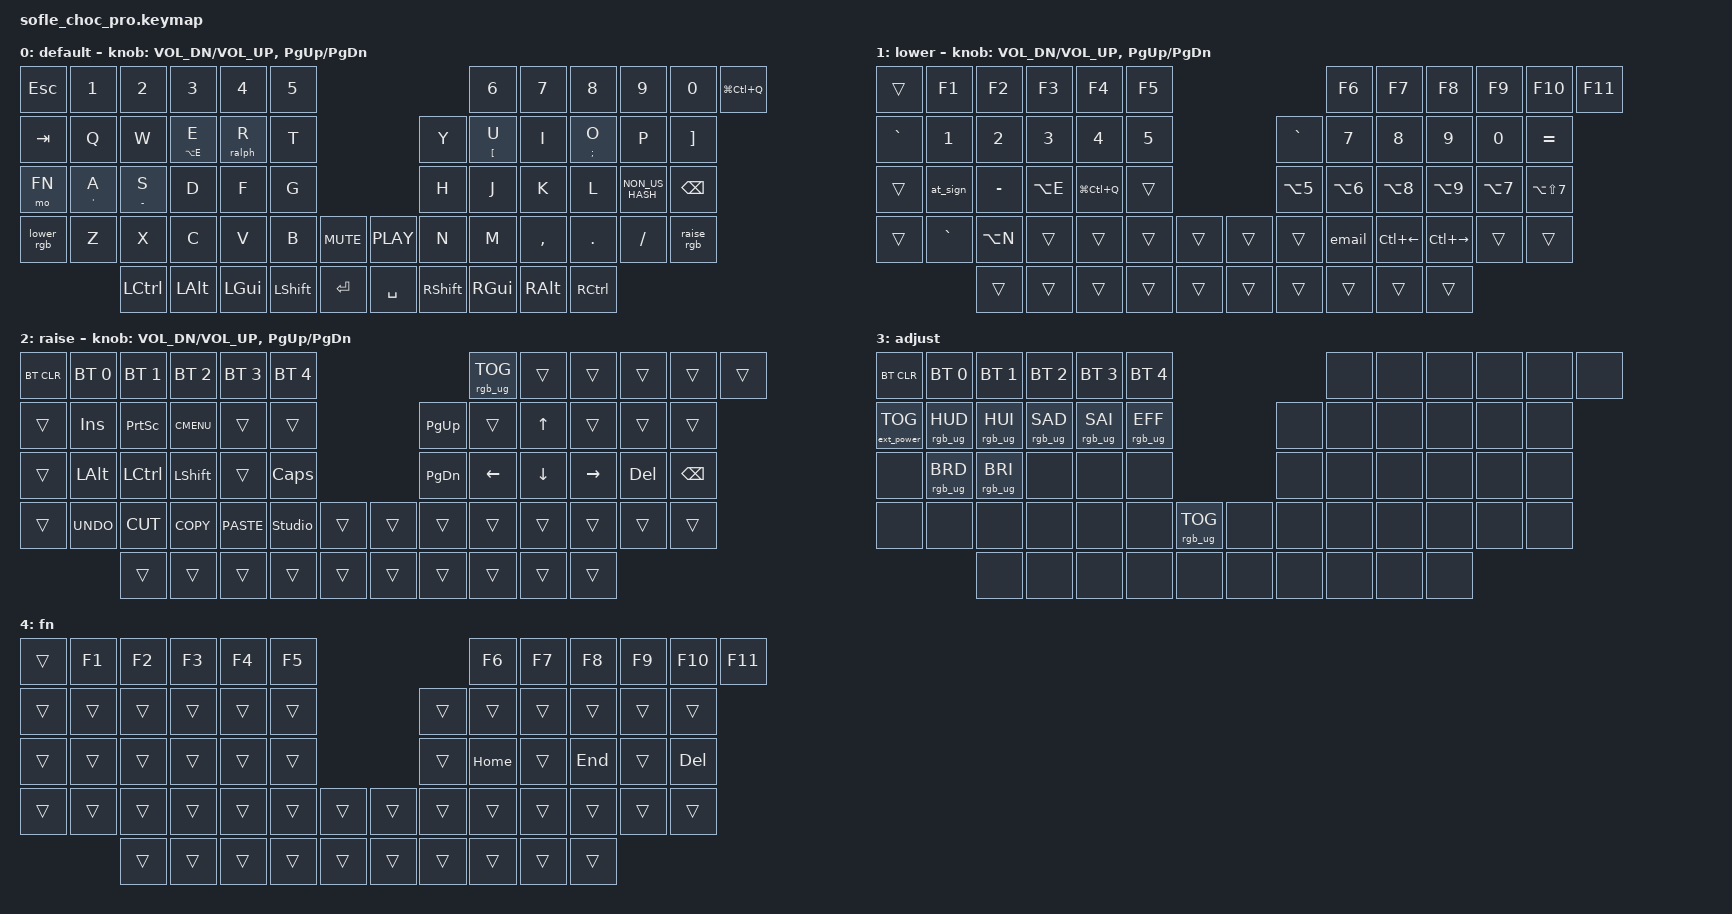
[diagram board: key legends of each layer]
/*
* Copyright (c) 2020 The ZMK Contributors
*
* SPDX-License-Identifier: MIT
*
* Apple-Deutsch-Belegung fuer Ralphs Sofle Choc Pro BT.
* WICHTIG: macOS-Eingabequelle muss "Deutsch" sein. ZMK sendet US-HID-Positionen,
* macOS uebersetzt sie ins deutsche Layout. Die Kommentare zeigen, was auf dem
* Mac tatsaechlich herauskommt (nicht das US-Label des Keycodes).
*/

#include <behaviors.dtsi>
#include <dt-bindings/zmk/keys.h>
#include <dt-bindings/zmk/bt.h>
#include <dt-bindings/zmk/rgb.h>
#include <dt-bindings/zmk/ext_power.h>

#define BASE 0
#define LOWER 1
#define RAISE 2
#define ADJUST 3
#define FN 4

/ {

  // ESC (Position 0) + TAB (Position 12), beide oben links auf der
  // linken (USB-)Haelfte, entsperren ZMK Studio. Grosszuegiges Timeout,
  // damit die Kombi leicht auszuloesen ist; versehentliches Ausloesen
  // praktisch unmoeglich (ESC+TAB tippt man nie zusammen).
  combos {
    compatible = "zmk,combos";
    combo_studio_unlock {
      timeout-ms = <200>;
      key-positions = <0 12>;
      bindings = <&studio_unlock>;
    };
    // R (Pos 16) + z-Taste (Pos 18) gleichzeitig -> "Ralph Ziegenhorn"
    combo_ralph_zieg {
      timeout-ms = <60>;
      key-positions = <16 18>;
      bindings = <&ralph_zieg>;
    };
    // Lower-Taste (Pos 36) + Raise-Taste (Pos 49) gleichzeitig halten -> Adjust.
    // Ersetzt conditional_layers (if-layers sieht &mo nicht zuverlaessig, wenn
    // es in einem Macro steckt -- lower_rgb/raise_rgb wickeln &mo ein fuer die
    // Layer-Farbe. Combos arbeiten auf rohen Tastenpositionen, unabhaengig davon.
    combo_adjust {
      timeout-ms = <50>;
      key-positions = <36 49>;
      bindings = <&adjust_rgb>;
    };
    // V (Pos 40) + G (Pos 29) gleichzeitig -> "Viele Grüße" + Zeilenumbruch
    // Grosszuegiges Timeout (wie Studio-Unlock), da V/G mit unterschiedlichen
    // Fingern oft nicht exakt gleichzeitig gedrueckt werden.
    combo_viele_gruesse {
      timeout-ms = <180>;
      key-positions = <29 40>;
      bindings = <&viele_gruesse>;
    };
    // G (Pos 29) + M (Pos 45) gleichzeitig -> "Guten Morgen"
    combo_guten_morgen {
      timeout-ms = <180>;
      key-positions = <29 45>;
      bindings = <&guten_morgen>;
    };
    // B (Pos 41) + E (Pos 15), erster+letzter Buchstabe -> "bitte " (mit Leerzeichen,
    // da mitten im Satz getippt).
    combo_bitte {
      timeout-ms = <180>;
      key-positions = <41 15>;
      bindings = <&wort_bitte>;
    };
    // N (Pos 44) + H (Pos 30) -> "nicht " (mit Leerzeichen). T+N waere naheliegender
    // (erster+letzter Buchstabe), ist aber schon durch combo_tion (Pos 17+44) belegt,
    // deshalb H als markanter Ersatzbuchstabe (fuer den "ch"-Laut).
    combo_nicht {
      timeout-ms = <180>;
      key-positions = <44 30>;
      bindings = <&wort_nicht>;
    };

    // Silben-Combos: erster+letzter Buchstabe der Silbe (bei Kollision
    // anderer markanter Buchstabe). 180ms Timeout wie oben, da unterschiedliche
    // Finger selten exakt gleichzeitig sind.
    combo_lich {
      timeout-ms = <180>;
      key-positions = <20 33>;
      bindings = <&syl_lich>;
    };
    combo_chen {
      timeout-ms = <180>;
      key-positions = <39 44>;
      bindings = <&syl_chen>;
    };
    combo_heit {
      timeout-ms = <180>;
      key-positions = <17 30>;
      bindings = <&syl_heit>;
    };
    combo_keit {
      timeout-ms = <180>;
      key-positions = <17 32>;
      bindings = <&syl_keit>;
    };
    combo_tion {
      timeout-ms = <180>;
      key-positions = <17 44>;
      bindings = <&syl_tion>;
    };
    combo_ueber {
      timeout-ms = <180>;
      key-positions = <15 19>;
      bindings = <&syl_ueber>;
    };
    combo_unter {
      timeout-ms = <180>;
      key-positions = <17 19>;
      bindings = <&syl_unter>;
    };
    combo_gegen {
      timeout-ms = <180>;
      key-positions = <29 44>;
      bindings = <&syl_gegen>;
    };
    combo_eigen {
      timeout-ms = <180>;
      key-positions = <15 29>;
      bindings = <&syl_eigen>;
    };
    combo_zusam {
      timeout-ms = <180>;
      key-positions = <18 45>;
      bindings = <&syl_zusam>;
    };

    // 1+2+3+4 gleichzeitig -> Code "28294721" + Enter
    combo_code1 {
      timeout-ms = <200>;
      key-positions = <1 2 3 4>;
      bindings = <&code_28294721>;
    };
    // 6+7+8+9 gleichzeitig -> "Road2$§" + Enter
    combo_code2 {
      timeout-ms = <200>;
      key-positions = <6 7 8 9>;
      bindings = <&code_road2>;
    };
  };

  // Hold-Tap fuer Umlaute: kurz tippen = Buchstabe, halten (250ms) = Umlaut.
  // Genutzt fuer a->ae, o->oe, u->ue. Mit Shift ergibt Halten die grossen
  // Umlaute. Preis: Auto-Repeat des Buchstabens entfaellt (wie bei macOS
  // Press-and-Hold ohnehin ueblich). quick-tap: Doppel-Tipp+Halten wiederholt
  // den Buchstaben doch (aa, oo).
  behaviors {
    hu: hold_umlaut {
      compatible = "zmk,behavior-hold-tap";
      #binding-cells = <2>;
      tapping-term-ms = <350>;
      quick-tap-ms = <175>;
      flavor = "tap-preferred";
      // Hold tippt das Zeichen nur EINMAL kurz an (&tap1) statt es zu
      // halten -- sonst oeffnet macOS bei Zeichen mit Akzent-Varianten
      // (z.B. oe) das Press-and-Hold-Popup statt das Zeichen zu setzen.
      bindings = <&tap1>, <&kp>;
    };
    // Halten = Makro "Ralph", Tippen = R. Aufruf: &rh 0 R
    rh: ralph_hold {
      compatible = "zmk,behavior-hold-tap";
      #binding-cells = <2>;
      tapping-term-ms = <350>;
      quick-tap-ms = <175>;
      flavor = "tap-preferred";
      bindings = <&ralph>, <&kp>;
    };
  };

  // Makro: tippt Ralphs E-Mail-Adresse (Lower + M, "M" wie eMail).
  // Die Keycodes sind fuer das deutsche Layout "verdreht" (z=Y-Taste,
  // @=Alt+L, .=DOT), damit auf Mac/iPad/iPhone mit deutscher
  // Hardware-Tastatur "ziegenhorn@me.com" korrekt herauskommt.
  macros {
    // Tippt seinen Parameter genau einmal an (press+release sofort).
    // Wird vom Umlaut-Hold-Tap benutzt, damit kein Press-and-Hold-Popup entsteht.
    tap1: tap_once {
      compatible = "zmk,behavior-macro-one-param";
      #binding-cells = <1>;
      bindings
        = <&macro_param_1to1>
        , <&macro_tap &kp MACRO_PLACEHOLDER>;
    };

    email: email {
      compatible = "zmk,behavior-macro";
      #binding-cells = <0>;
      wait-ms = <30>;
      tap-ms = <30>;
      // Nach macro_release muss explizit wieder in den Tap-Modus
      // gewechselt werden, sonst werden die restlichen Zeichen nur
      // "losgelassen" statt getippt.
      bindings
        = <&kp Y &kp I &kp E &kp G &kp E &kp N &kp H &kp O &kp R &kp N>
        , <&macro_press &kp LALT>
        , <&macro_tap &kp L>
        , <&macro_release &kp LALT>
        , <&macro_tap &kp M &kp E &kp DOT &kp C &kp O &kp M>;
    };

    // @ als eigenes Makro (Option gedrueckt halten, L tippen) --
    // derselbe Mechanismus, der im E-Mail-Makro nachweislich
    // funktioniert. Liegt auf Lower+A.
    at_sign: at_sign {
      compatible = "zmk,behavior-macro";
      #binding-cells = <0>;
      wait-ms = <30>;
      tap-ms = <30>;
      bindings
        = <&macro_press &kp LALT>
        , <&macro_tap &kp L>
        , <&macro_release &kp LALT>;
    };

    // "Ralph" (Halten von R). Grosses R via Shift.
    ralph: ralph {
      compatible = "zmk,behavior-macro";
      #binding-cells = <0>;
      wait-ms = <5>;
      tap-ms = <5>;
      bindings = <&macro_tap &kp LS(R) &kp A &kp L &kp P &kp H>;
    };

    // "Ralph Ziegenhorn" (Combo R+Z). z wird auf Deutsch von der
    // Y-Taste erzeugt, grosses Z daher LS(Y).
    ralph_zieg: ralph_zieg {
      compatible = "zmk,behavior-macro";
      #binding-cells = <0>;
      wait-ms = <5>;
      tap-ms = <5>;
      bindings = <&macro_tap &kp LS(R) &kp A &kp L &kp P &kp H &kp SPACE &kp LS(Y) &kp I &kp E &kp G &kp E &kp N &kp H &kp O &kp R &kp N>;
    };

    // "Viele Grüße" + Zeilenumbruch (Combo V+G). ü=LBKT, ß=MINUS (deutsche
    // Positions-Codes, siehe Umlaut-Mapping-Tabelle in der README).
    viele_gruesse: viele_gruesse {
      compatible = "zmk,behavior-macro";
      #binding-cells = <0>;
      wait-ms = <5>;
      tap-ms = <5>;
      bindings = <&macro_tap &kp LS(V) &kp I &kp E &kp L &kp E &kp SPACE &kp LS(G) &kp R &kp LBKT &kp MINUS &kp E &kp RET>;
    };

    // "Guten Morgen" (Combo G+M), ohne Leerzeichen/Zeilenumbruch am Ende.
    guten_morgen: guten_morgen {
      compatible = "zmk,behavior-macro";
      #binding-cells = <0>;
      wait-ms = <5>;
      tap-ms = <5>;
      bindings = <&macro_tap &kp LS(G) &kp U &kp T &kp E &kp N &kp SPACE &kp LS(M) &kp O &kp R &kp G &kp E &kp N>;
    };

    // "bitte " (Combo B+E) und "nicht " (Combo N+H) -- beide mit Leerzeichen am Ende,
    // da als Fuellwoerter mitten im Satz gedacht, im Gegensatz zu den Silben-Makros
    // (die ohne Leerzeichen direkt anhaengen).
    wort_bitte: wort_bitte {
      compatible = "zmk,behavior-macro";
      #binding-cells = <0>;
      wait-ms = <5>;
      tap-ms = <5>;
      bindings = <&macro_tap &kp B &kp I &kp T &kp T &kp E &kp SPACE>;
    };
    wort_nicht: wort_nicht {
      compatible = "zmk,behavior-macro";
      #binding-cells = <0>;
      wait-ms = <5>;
      tap-ms = <5>;
      bindings = <&macro_tap &kp N &kp I &kp C &kp H &kp T &kp SPACE>;
    };

    // Silben-Makros (Suffixe/Praefixe), alle klein geschrieben, kein
    // Leerzeichen/Zeilenumbruch -- werden direkt an den Wortanfang/-ende
    // angehaengt. LBKT=ü.
    syl_lich: syl_lich {
      compatible = "zmk,behavior-macro";
      #binding-cells = <0>;
      wait-ms = <5>;
      tap-ms = <5>;
      bindings = <&macro_tap &kp L &kp I &kp C &kp H>;
    };
    syl_chen: syl_chen {
      compatible = "zmk,behavior-macro";
      #binding-cells = <0>;
      wait-ms = <5>;
      tap-ms = <5>;
      bindings = <&macro_tap &kp C &kp H &kp E &kp N>;
    };
    syl_heit: syl_heit {
      compatible = "zmk,behavior-macro";
      #binding-cells = <0>;
      wait-ms = <5>;
      tap-ms = <5>;
      bindings = <&macro_tap &kp H &kp E &kp I &kp T>;
    };
    syl_keit: syl_keit {
      compatible = "zmk,behavior-macro";
      #binding-cells = <0>;
      wait-ms = <5>;
      tap-ms = <5>;
      bindings = <&macro_tap &kp K &kp E &kp I &kp T>;
    };
    syl_tion: syl_tion {
      compatible = "zmk,behavior-macro";
      #binding-cells = <0>;
      wait-ms = <5>;
      tap-ms = <5>;
      bindings = <&macro_tap &kp T &kp I &kp O &kp N>;
    };
    syl_ueber: syl_ueber {
      compatible = "zmk,behavior-macro";
      #binding-cells = <0>;
      wait-ms = <5>;
      tap-ms = <5>;
      bindings = <&macro_tap &kp LBKT &kp B &kp E &kp R>;
    };
    syl_unter: syl_unter {
      compatible = "zmk,behavior-macro";
      #binding-cells = <0>;
      wait-ms = <5>;
      tap-ms = <5>;
      bindings = <&macro_tap &kp U &kp N &kp T &kp E &kp R>;
    };
    syl_gegen: syl_gegen {
      compatible = "zmk,behavior-macro";
      #binding-cells = <0>;
      wait-ms = <5>;
      tap-ms = <5>;
      bindings = <&macro_tap &kp G &kp E &kp G &kp E &kp N>;
    };
    syl_eigen: syl_eigen {
      compatible = "zmk,behavior-macro";
      #binding-cells = <0>;
      wait-ms = <5>;
      tap-ms = <5>;
      bindings = <&macro_tap &kp E &kp I &kp G &kp E &kp N>;
    };
    syl_zusam: syl_zusam {
      compatible = "zmk,behavior-macro";
      #binding-cells = <0>;
      wait-ms = <5>;
      tap-ms = <5>;
      bindings = <&macro_tap &kp Y &kp U &kp S &kp A &kp M>;
    };

    // Code-Makros (1+2+3+4 bzw. 6+7+8+9). $ = Shift+4, § = Shift+3
    // (deutsches Layout, empirisch bestaetigt).
    code_28294721: code_28294721 {
      compatible = "zmk,behavior-macro";
      #binding-cells = <0>;
      wait-ms = <5>;
      tap-ms = <5>;
      bindings = <&macro_tap &kp N2 &kp N8 &kp N2 &kp N9 &kp N4 &kp N7 &kp N2 &kp N1 &kp RET>;
    };
    code_road2: code_road2 {
      compatible = "zmk,behavior-macro";
      #binding-cells = <0>;
      wait-ms = <5>;
      tap-ms = <5>;
      bindings = <&macro_tap &kp LS(R) &kp O &kp A &kp D &kp N2 &kp LS(N4) &kp RET>;
    };

    // Layer-Farbe: Halten faerbt Underglow ein, Loslassen zurueck auf Weiss (Base).
    // macro_pause_for_release ist noetig, damit die Release-Bindings erst beim
    // tatsaechlichen Loslassen der physischen Taste laufen (nicht sofort).
    lower_rgb: lower_rgb {
      compatible = "zmk,behavior-macro";
      #binding-cells = <0>;
      wait-ms = <0>;
      tap-ms = <0>;
      bindings
        = <&macro_press &mo LOWER>
        , <&macro_tap &rgb_ug RGB_COLOR_HSB(120,100,50)>
        , <&macro_pause_for_release>
        , <&macro_release &mo LOWER>
        , <&macro_tap &rgb_ug RGB_COLOR_HSB(0,0,50)>
        ;
    };

    raise_rgb: raise_rgb {
      compatible = "zmk,behavior-macro";
      #binding-cells = <0>;
      wait-ms = <0>;
      tap-ms = <0>;
      bindings
        = <&macro_press &mo RAISE>
        , <&macro_tap &rgb_ug RGB_COLOR_HSB(240,100,50)>
        , <&macro_pause_for_release>
        , <&macro_release &mo RAISE>
        , <&macro_tap &rgb_ug RGB_COLOR_HSB(0,0,50)>
        ;
    };

    // Adjust wird ueber combo_adjust ausgeloest (Pos 36+49), nicht ueber eine
    // einzelne Taste -- deshalb hier direkt als Combo-Binding statt auf einer
    // Keymap-Position.
    adjust_rgb: adjust_rgb {
      compatible = "zmk,behavior-macro";
      #binding-cells = <0>;
      wait-ms = <0>;
      tap-ms = <0>;
      bindings
        = <&macro_press &mo ADJUST>
        , <&macro_tap &rgb_ug RGB_COLOR_HSB(0,100,50)>
        , <&macro_pause_for_release>
        , <&macro_release &mo ADJUST>
        , <&macro_tap &rgb_ug RGB_COLOR_HSB(0,0,50)>
        ;
    };
  };

  keymap {
    compatible = "zmk,keymap";

    default_layer {
      display-name = "default";
      // Ausgabe auf dem Mac (Eingabequelle Deutsch):
      // ------------------------------------------------------------------------------------------------------------
      // |  ESC  |  1  |  2  |  3   |  4   |  5   |                   |  6   |  7    |  8    |  9   |   0   |  LOCK |
      // |  TAB  |  Q  |  W  |  E   |  R   |  T   |                   |  Z   |  U    |  I    |  O   |   P   |  +/*  |
      // |  FN   |  A  |  S  |  D   |  F   |  G   |                   |  H   |  J    |  K    |  L   |   #   | BKSPC |
      // | SHIFT |  Y  |  X  |  C   |  V   |  B   |  MUTE  |  | PLAY  |  N   |  M    |  ,    |  .   |   -   | SHIFT |
      //               | CTRL| ALT  | CMD  | LOWER|  ENTER |  | SPACE | RAISE| CMD   | ALT   | CTRL |
      // FN (frueher CAPS, 06.07. ersetzt) haelt die Mac-Fn-Ebene: F-Tasten auf der
      // Zahlenreihe, Pos1/Ende auf J/L, Vorwaerts-Loeschen auf Backspace. Echtes
      // Caps Lock bleibt ueber Raise+FN-Position (kp CLCK) erreichbar.
      bindings = <
        &kp ESC   &kp N1 &kp N2   &kp N3   &kp N4    &kp N5                           &kp N6 &kp N7      &kp N8    &kp N9      &kp N0   &kp LG(LC(Q))
        &kp TAB   &kp Q  &kp W    &hu LA(E) E &rh 0 R &kp T                           &kp Y  &hu LBKT U  &kp I     &hu SEMI O  &kp P    &kp RBKT
        &mo FN    &hu SQT A &hu MINUS S &kp D &kp F  &kp G                            &kp H  &kp J       &kp K     &kp L       &kp NON_US_HASH &kp BSPC
        &lower_rgb &kp Z  &kp X    &kp C    &kp V     &kp B   &kp C_MUTE &kp C_PLAY    &kp N  &kp M     &kp COMMA &kp DOT  &kp FSLH &raise_rgb
        &kp LCTRL &kp LALT &kp LGUI &kp LSHFT  &kp RET    &kp SPACE  &kp RSHFT  &kp RGUI &kp RALT  &kp RCTRL
      >;

      sensor-bindings = <&inc_dec_kp C_VOL_DN C_VOL_UP &inc_dec_kp PG_UP PG_DN>;
    };

    lower_layer {
      display-name = "lower";
      // Ausgabe auf dem Mac (Eingabequelle Deutsch):
      // ------------------------------------------------------------------------------------------------------------
      // |       |  F1 |  F2 |  F3  |  F4  |  F5  |                   |  F6  |  F7   |  F8   |  F9  |  F10  |  F11  |
      // |  ^    |  1  |  2  |  3   |  4   |  5   |                   |  <>  |  7    |  8    |  9   |   0   |   ´   |
      // |       |  @  |  ss |  EUR |      | LOCK |                   |  [   |  ]    |  {    |  }   |  PIPE |   \   |
      // |       |  ~  |  <  |      |      |      |        |  |       |      |       |  +    |  #   |       |       |
      //               |     |      |      |      |        |  |       |      |       |       |      |
      // Lower+F = Bildschirm sperren (Ersatz fuer die kaputte Mondtaste,
      // vermutlich Loetstelle/Diode defekt -- Schalter klickt, meldet aber nichts).
      // WICHTIG (2026-07-04, per UCKeyTranslate empirisch verifiziert): auf DIESEM
      // Mac gibt GRAVE "<"/">" aus, NON_US_BSLH ist quasi tot (leer/"°" mit Shift) --
      // umgekehrt zur ueblichen Referenztabelle! Deshalb hier GRAVE statt NON_US_BSLH,
      // sowohl auf Lower+Y (physischer "Y"-Keycap) als auch auf Lower+Z-Keycap.
      bindings = <
        &trans    &kp F1    &kp F2          &kp F3    &kp F4    &kp F5                     &kp F6     &kp F7     &kp F8     &kp F9          &kp F10    &kp F11
        &kp GRAVE &kp N1    &kp N2          &kp N3    &kp N4    &kp N5                     &kp GRAVE &kp N7     &kp N8     &kp N9          &kp N0     &kp EQUAL
        &trans    &at_sign  &kp MINUS       &kp LA(E) &kp LG(LC(Q)) &trans                 &kp LA(N5) &kp LA(N6) &kp LA(N8) &kp LA(N9)      &kp LA(N7) &kp LA(LS(N7))
        &trans    &kp GRAVE &kp LA(N) &trans    &trans    &trans   &trans &trans     &trans     &email     &kp LC(LEFT)   &kp LC(RIGHT) &trans     &trans
        &trans    &trans    &trans          &trans    &trans  &trans     &trans &trans     &trans     &trans
      >;

      sensor-bindings = <&inc_dec_kp C_VOL_DN C_VOL_UP &inc_dec_kp PG_UP PG_DN>;
    };

    raise_layer {
      display-name = "raise";
      // ------------------------------------------------------------------------------------------------------------
      // | BTCLR | BT1  | BT2  |  BT3  |  BT4  |  BT5 |                | LEDon/off |      |       |      |       |       |
      // |       | INS  | PSCR | GUI   |       |      |                | PGUP |      |   ^   |      |       |       |
      // |       | ALT  | CTRL | SHIFT |       | CAPS |                | PGDN |   <- |   v   |  ->  |  DEL  | BKSPC |
      // |       | UNDO | CUT  | COPY  | PASTE | STUD |      |  |      |      |      |       |      |       |       |
      //                |      |       |       |      |      |  |      |      |      |       |      |
      // Raise+6 = LEDs an/aus (RGB_TOG), bequemer Einzelzugriff statt Adjust-Kombi (Lower+Raise+Mute)
      bindings = <
        &bt BT_CLR &bt BT_SEL 0 &bt BT_SEL 1 &bt BT_SEL 2 &bt BT_SEL 3 &bt BT_SEL 4                      &rgb_ug RGB_TOG    &trans    &trans    &trans     &trans   &trans
        &trans     &kp INS      &kp PSCRN    &kp K_CMENU  &trans       &trans                            &kp PG_UP &trans    &kp UP    &trans     &trans   &trans
        &trans     &kp LALT     &kp LCTRL    &kp LSHFT    &trans       &kp CLCK                          &kp PG_DN &kp LEFT  &kp DOWN  &kp RIGHT  &kp DEL  &kp BSPC
        &trans     &kp K_UNDO   &kp K_CUT    &kp K_COPY   &kp K_PASTE  &studio_unlock  &trans  &trans    &trans    &trans    &trans    &trans     &trans   &trans
                                &trans       &trans       &trans       &trans          &trans  &trans    &trans    &trans    &trans    &trans
      >;

      sensor-bindings = <&inc_dec_kp C_VOL_DN C_VOL_UP &inc_dec_kp PG_UP PG_DN>;
    };

    adjust_layer {
      // ----------------------------------------------------------------------------------------------------------------------------
      // | BTCLR  |  BT1    |  BT2    |   BT3   |   BT4   |   BT5   |                  |      |      |       |      |       |       |
      // | EXTPWR | RGB_HUD | RGB_HUI | RGB_SAD | RGB_SAI | RGB_EFF |                  |      |      |       |      |       |       |
      // |        | RGB_BRD | RGB_BRI |         |         |         |                  |      |      |       |      |       |       |
      // |        |         |         |         |         |         | RGB_TOG | |      |      |      |       |      |       |       |
      //                    |         |         |         |         |         | |      |      |      |
      display-name = "adjust";
      bindings = <
        &bt BT_CLR        &bt BT_SEL 0    &bt BT_SEL 1    &bt BT_SEL 2    &bt BT_SEL 3    &bt BT_SEL 4                            &none &none &none &none &none &none
        &ext_power EP_TOG &rgb_ug RGB_HUD &rgb_ug RGB_HUI &rgb_ug RGB_SAD &rgb_ug RGB_SAI &rgb_ug RGB_EFF                         &none &none &none &none &none &none
        &none             &rgb_ug RGB_BRD &rgb_ug RGB_BRI &none           &none           &none                                   &none &none &none &none &none &none
        &none             &none           &none           &none           &none           &none            &rgb_ug RGB_TOG &none  &none &none &none &none &none &none
        &none           &none           &none           &none            &none           &none  &none &none &none &none
      >;
    };

    // FN-Ebene, ersetzt die alte Caps-Lock-Taste (Position links neben A).
    // Bildet die drei Mac-typischen Fn-Funktionen nach: F-Tasten (wie Lower),
    // Pos1/Ende (Fn+Pfeil-links/rechts) auf J/L, Vorwaerts-Loeschen (Fn+Entf)
    // auf Backspace. Bild-hoch/runter und normale Pfeiltasten bleiben ueber
    // Raise erreichbar, hier bewusst nicht dupliziert.
    fn_layer {
      display-name = "fn";
      // ------------------------------------------------------------------------------------------------------------
      // |       |  F1 |  F2 |  F3  |  F4  |  F5  |                   |  F6  |  F7   |  F8   |  F9  |  F10  |  F11  |
      // |       |     |     |      |      |      |                   |      |       |       |      |       |       |
      // |       |     |     |      |      |      |                   |      | POS1  |       | ENDE |       | ENTF  |
      // |       |     |     |      |      |      |                   |      |       |       |      |       |       |
      //               |     |      |      |      |        |  |       |      |       |       |      |
      bindings = <
        &trans &kp F1 &kp F2 &kp F3 &kp F4 &kp F5                       &kp F6 &kp F7 &kp F8 &kp F9 &kp F10 &kp F11
        &trans &trans &trans &trans &trans &trans                      &trans &trans &trans &trans &trans  &trans
        &trans &trans &trans &trans &trans &trans                      &trans &kp HOME &trans &kp END &trans &kp DEL
        &trans &trans &trans &trans &trans &trans &trans &trans        &trans &trans &trans &trans &trans  &trans
        &trans &trans &trans &trans &trans &trans &trans &trans &trans &trans
      >;
    };
  };
};
